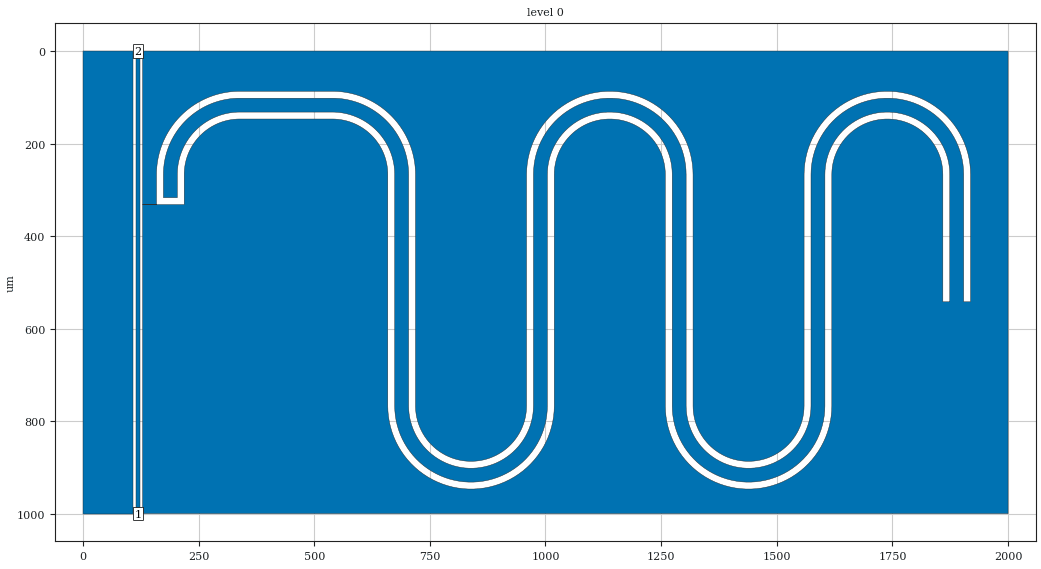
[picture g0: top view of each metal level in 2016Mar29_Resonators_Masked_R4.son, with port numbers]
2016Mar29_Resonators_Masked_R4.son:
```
FTYP SONPROJ 15 ! Sonnet Project File
VER 16.52
HEADER
LIC calt2.2.43068 b4ae2bd1247e DESKTOP-SL82IK9 Michael
DAT 04/05/2016 03:37:08
BUILT_BY_CREATED xgeom 16.52 03/26/2016 21:21:12
BUILT_BY_SAVED xgeom 16.52
MDATE 04/05/2016 03:37:08
HDATE 04/05/2016 03:36:58
END HEADER
DIM
FREQ GHZ
IND NH
LNG UM
ANG DEG
CON /OH
CAP PF
RES OH
END DIM
FREQ
ABS 5.9 6.1 
END FREQ
CONTROL
ABS
OPTIONS  -d 
SPEED 0
CACHE_ABS 1
TARG_ABS 300
Q_ACC N
DET_ABS_RES Y
END CONTROL
GEO
TMET "Lossless" 0 SUP 0 0 0 0
BMET "Lossless" 0 SUP 0 0 0 0
BOX 1 2001 999 1334 666 20 0
      1000 1 1 0 0 0 0 "Air"
      500 11.9 1 5e-006 0 0 0 "Silicon (intrinsic)"
LORGN 0 999 U 
POR1 STD
POLY 10 1
5
1 50 0 0 0 119 1000.000022 
POR1 STD
POLY 10 1
2
2 50 0 0 0 119.000068 -2.005889291e-005 
NUM 3
0 1223 -1 N 9 1 1 100 100 0 0 0 Y
2000.000042 3.902716316e-005
129 3.902716316e-005
129 132
129 332
159 332
159 267
159.09 261.23
159.37 255.47
159.83 249.72
160.48 243.98
161.31 238.27
162.32 232.59
163.51 226.95
164.89 221.34
166.44 215.78
168.17 210.28
170.08 204.83
172.16 199.45
174.41 194.14
176.83 188.9
179.41 183.74
182.16 178.67
185.07 173.69
188.14 168.8
191.37 164.02
194.75 159.34
198.27 154.77
201.94 150.32
205.75 145.99
209.7 141.78
213.78 137.7
217.99 133.75
222.32 129.94
226.77 126.27
231.34 122.75
236.02 119.37
240.8 116.14
245.69 113.07
250.67 110.16
255.74 107.41
260.9 104.83
266.14 102.41
271.45 100.15
276.83 98.08
282.28 96.17
287.79 94.44
293.34 92.89
298.95 91.51
304.59 90.32
310.27 89.31
315.98 88.48
321.72 87.83
327.47 87.37
333.23 87.09
339 87
539 87
544.77 87.09
550.53 87.37
556.28 87.83
562.02 88.48
567.73 89.31
573.41 90.32
579.05 91.51
584.66 92.89
590.22 94.44
595.72 96.17
601.17 98.08
606.55 100.15
611.86 102.41
617.1 104.83
622.26 107.41
627.33 110.16
632.31 113.07
637.2 116.14
641.98 119.37
646.66 122.75
651.23 126.27
655.68 129.94
660.01 133.75
664.22 137.7
668.3 141.78
672.25 145.99
676.06 150.32
679.73 154.77
683.25 159.34
686.63 164.02
689.86 168.8
692.93 173.69
695.84 178.67
698.59 183.74
701.17 188.9
703.59 194.14
705.85 199.45
707.92 204.83
709.83 210.28
711.56 215.78
713.11 221.34
714.49 226.95
715.68 232.59
716.69 238.27
717.52 243.98
718.17 249.72
718.63 255.47
718.91 261.23
719 267
719 767
719.25 774.69
719.98 782.34
721.21 789.94
722.93 797.44
725.11 804.81
727.77 812.03
730.88 819.07
734.44 825.89
738.43 832.46
742.83 838.77
747.63 844.79
752.8 850.48
758.32 855.83
764.18 860.82
770.35 865.42
776.79 869.62
783.49 873.39
790.43 876.73
797.56 879.62
804.86 882.04
812.3 883.99
819.85 885.46
827.48 886.44
835.15 886.94
842.85 886.94
850.52 886.44
858.15 885.46
865.7 883.99
873.14 882.04
880.44 879.62
887.57 876.73
894.51 873.39
901.21 869.62
907.65 865.42
913.82 860.82
919.68 855.83
925.2 850.48
930.37 844.79
935.17 838.77
939.57 832.46
943.56 825.89
947.12 819.07
950.23 812.03
952.89 804.81
955.07 797.44
956.79 789.94
958.02 782.34
958.75 774.69
959 767
959 267
959.37 255.47
960.48 243.98
962.32 232.59
964.89 221.34
968.17 210.28
972.15 199.45
976.83 188.9
982.16 178.67
988.14 168.8
994.75 159.34
1001.94 150.32
1009.7 141.78
1017.99 133.75
1018.21 133.56
1026.77 126.27
1036.02 119.37
1045.69 113.07
1055.74 107.41
1066.14 102.41
1076.83 98.08
1087.78 94.44
1098.95 91.51
1110.27 89.31
1121.72 87.83
1133.23 87.09
1144.77 87.09
1156.28 87.83
1167.73 89.31
1179.05 91.51
1190.22 94.44
1201.17 98.08
1211.86 102.41
1222.26 107.41
1232.31 113.07
1241.98 119.37
1251.23 126.27
1260.01 133.75
1268.3 141.78
1276.06 150.32
1283.25 159.34
1289.86 168.8
1295.84 178.67
1301.17 188.9
1305.85 199.45
1309.83 210.28
1313.11 221.34
1315.68 232.59
1317.52 243.98
1318.63 255.47
1319 267
1319 767
1319.25 774.69
1319.98 782.34
1321.21 789.94
1322.93 797.44
1325.11 804.81
1327.77 812.03
1330.88 819.07
1334.44 825.89
1338.43 832.46
1342.83 838.77
1347.63 844.79
1352.8 850.48
1358.32 855.83
1364.18 860.82
1370.35 865.42
1376.79 869.62
1383.49 873.39
1390.43 876.73
1397.56 879.62
1404.86 882.04
1412.3 883.99
1419.85 885.46
1427.48 886.44
1435.15 886.94
1442.85 886.94
1450.52 886.44
1458.15 885.46
1465.7 883.99
1473.14 882.04
1480.44 879.62
1487.57 876.73
1494.51 873.39
1501.21 869.62
1507.65 865.42
1513.82 860.82
1519.68 855.83
1525.2 850.48
1530.37 844.79
1535.17 838.77
1539.57 832.46
1543.56 825.89
1547.12 819.07
1550.23 812.03
1552.89 804.81
1555.07 797.44
1556.79 789.94
1558.02 782.34
1558.75 774.69
1559 767
1559 267
1559.37 255.47
1560.48 243.98
1562.32 232.59
1564.89 221.34
1568.17 210.28
1572.15 199.45
1576.83 188.9
1582.16 178.67
1588.14 168.8
1594.75 159.34
1601.94 150.32
1609.7 141.78
1617.99 133.75
1626.77 126.27
1636.02 119.37
1645.69 113.07
1655.74 107.41
1666.14 102.41
1676.83 98.08
1687.78 94.44
1698.95 91.51
1710.27 89.31
1721.72 87.83
1733.23 87.09
1744.77 87.09
1756.28 87.83
1767.73 89.31
1779.05 91.51
1790.22 94.44
1801.17 98.08
1811.86 102.41
1822.26 107.41
1832.31 113.07
1841.98 119.37
1851.23 126.27
1860.01 133.75
1868.3 141.78
1876.06 150.32
1883.25 159.34
1889.86 168.8
1895.84 178.67
1901.17 188.9
1905.85 199.45
1909.83 210.28
1913.11 221.34
1915.68 232.59
1917.52 243.98
1918.63 255.47
1919 267
1919 542.17
1904 542.17
1904 267
1903.66 256.43
1902.65 245.9
1900.96 235.46
1898.6 225.15
1895.59 215.01
1891.94 205.08
1887.66 195.41
1882.77 186.03
1877.28 176.99
1871.23 168.31
1864.64 160.04
1857.53 152.21
1849.93 144.85
1841.88 138
1833.4 131.67
1824.53 125.9
1815.32 120.71
1805.79 116.12
1795.98 112.15
1785.95 108.82
1775.72 106.14
1765.33 104.11
1754.84 102.76
1744.29 102.08
1733.71 102.08
1723.16 102.76
1712.67 104.11
1702.28 106.14
1692.05 108.82
1682.02 112.15
1672.21 116.12
1662.68 120.71
1653.47 125.9
1644.6 131.67
1636.12 138
1628.07 144.85
1620.47 152.21
1613.36 160.04
1606.77 168.31
1600.72 176.99
1595.23 186.03
1590.34 195.41
1586.06 205.08
1582.41 215.01
1579.4 225.15
1577.04 235.46
1575.36 245.9
1574.34 256.43
1574 267
1574 767
1573.72 775.65
1572.89 784.26
1571.51 792.81
1569.59 801.24
1567.12 809.54
1564.13 817.66
1560.63 825.57
1556.63 833.25
1552.14 840.65
1547.19 847.74
1541.8 854.51
1535.98 860.92
1529.76 866.94
1523.17 872.55
1516.24 877.72
1508.98 882.44
1501.44 886.69
1493.65 890.45
1485.62 893.69
1477.41 896.42
1469.04 898.61
1460.55 900.27
1451.96 901.38
1443.33 901.93
1434.67 901.93
1426.04 901.38
1417.45 900.27
1408.96 898.61
1400.59 896.42
1392.38 893.69
1384.35 890.45
1376.56 886.69
1369.02 882.44
1361.76 877.72
1354.83 872.55
1348.24 866.94
1342.02 860.92
1336.2 854.51
1330.81 847.74
1325.86 840.65
1321.37 833.25
1317.37 825.57
1313.87 817.66
1310.88 809.54
1308.42 801.24
1306.49 792.81
1305.11 784.26
1304.28 775.65
1304 767
1304 267
1303.66 256.43
1302.65 245.9
1300.96 235.46
1298.6 225.15
1295.59 215.01
1291.94 205.08
1287.66 195.41
1282.77 186.03
1277.28 176.99
1271.23 168.31
1264.64 160.04
1257.53 152.21
1249.93 144.85
1241.88 138
1233.4 131.67
1224.53 125.9
1215.32 120.71
1205.79 116.12
1195.98 112.15
1185.95 108.82
1175.72 106.14
1165.33 104.11
1154.84 102.76
1144.29 102.08
1133.71 102.08
1123.16 102.76
1112.67 104.11
1102.28 106.14
1092.05 108.82
1082.02 112.15
1072.21 116.12
1062.68 120.71
1053.47 125.9
1044.6 131.67
1036.12 138
1028.07 144.85
1020.47 152.21
1018.21 154.7
1013.36 160.04
1006.77 168.31
1000.72 176.99
995.23 186.03
990.34 195.41
986.06 205.08
982.41 215.01
979.4 225.15
977.04 235.46
975.36 245.9
974.34 256.43
974 267
974 767
973.72 775.65
972.89 784.26
971.51 792.81
969.59 801.24
967.12 809.54
964.13 817.66
960.63 825.57
956.63 833.25
952.14 840.65
947.19 847.74
941.8 854.51
935.98 860.92
929.76 866.94
923.17 872.55
916.24 877.72
908.98 882.44
901.44 886.69
893.65 890.45
885.62 893.69
877.41 896.42
869.04 898.61
860.55 900.27
851.96 901.38
843.33 901.93
834.67 901.93
826.04 901.38
817.45 900.27
808.96 898.61
800.59 896.42
792.38 893.69
784.35 890.45
776.56 886.69
769.02 882.44
761.76 877.72
754.83 872.55
748.24 866.94
742.02 860.92
736.2 854.51
730.81 847.74
725.86 840.65
721.37 833.25
717.37 825.57
713.87 817.66
710.88 809.54
708.42 801.24
706.49 792.81
705.11 784.26
704.28 775.65
704 767
704 267
703.92 261.71
703.66 256.43
703.24 251.16
702.65 245.9
701.89 240.67
700.96 235.46
699.86 230.28
698.6 225.15
697.18 220.05
695.59 215.01
693.85 210.02
691.94 205.08
689.88 200.21
687.66 195.41
685.29 190.68
682.77 186.03
680.1 181.47
677.28 176.99
674.33 172.6
671.23 168.31
668 164.12
664.64 160.04
661.15 156.07
657.53 152.21
653.79 148.47
649.93 144.85
645.96 141.36
641.88 138
637.69 134.77
633.4 131.67
629.01 128.72
624.53 125.9
619.97 123.23
615.32 120.71
610.59 118.34
605.79 116.12
600.92 114.06
595.98 112.15
590.99 110.41
585.95 108.82
580.85 107.4
575.72 106.14
570.54 105.04
565.33 104.11
560.1 103.35
554.84 102.76
549.57 102.34
544.29 102.08
539 102
339 102
333.71 102.08
328.43 102.34
323.16 102.76
317.9 103.35
312.67 104.11
307.46 105.04
302.28 106.14
297.15 107.4
292.05 108.82
287.01 110.41
282.01 112.15
277.08 114.06
272.21 116.12
267.41 118.34
262.68 120.71
258.03 123.23
253.47 125.9
248.99 128.72
244.6 131.67
240.31 134.77
236.12 138
232.04 141.36
228.07 144.85
224.21 148.47
220.47 152.21
216.85 156.07
213.36 160.04
210 164.12
206.77 168.31
203.67 172.6
200.72 176.99
197.9 181.47
195.23 186.03
192.71 190.68
190.34 195.41
188.12 200.21
186.06 205.08
184.15 210.02
182.41 215.01
180.82 220.05
179.4 225.15
178.14 230.28
177.04 235.46
176.12 240.67
175.36 245.9
174.76 251.16
174.34 256.43
174.09 261.71
174 267
174 317
204 317
204 267
204.07 262.67
204.28 258.35
204.62 254.04
205.11 249.74
205.73 245.45
206.49 241.19
207.39 236.96
208.42 232.76
209.58 228.59
210.88 224.46
212.31 220.38
213.87 216.34
215.55 212.35
217.37 208.43
219.31 204.56
221.37 200.75
223.56 197.02
225.86 193.35
228.28 189.76
230.81 186.26
233.45 182.83
236.2 179.49
239.06 176.24
242.02 173.08
245.08 170.02
248.24 167.06
251.49 164.2
254.83 161.45
258.26 158.81
261.76 156.28
265.35 153.86
269.02 151.56
272.75 149.37
276.56 147.31
280.43 145.37
284.35 143.55
288.34 141.87
292.38 140.31
296.46 138.88
300.59 137.58
304.76 136.41
308.96 135.39
313.19 134.49
317.45 133.73
321.74 133.11
326.04 132.62
330.35 132.28
334.67 132.07
339 132
539 132
543.33 132.07
547.65 132.28
551.96 132.62
556.26 133.11
560.55 133.73
564.81 134.49
569.04 135.39
573.24 136.41
577.41 137.58
581.54 138.88
585.62 140.31
589.66 141.87
593.65 143.55
597.57 145.37
601.44 147.31
605.25 149.37
608.98 151.56
612.65 153.86
616.24 156.28
619.74 158.81
623.17 161.45
626.51 164.2
629.76 167.06
632.92 170.02
635.98 173.08
638.94 176.24
641.8 179.49
644.55 182.83
647.19 186.26
649.72 189.76
652.14 193.35
654.44 197.02
656.63 200.75
658.69 204.56
660.63 208.43
662.45 212.35
664.13 216.34
665.69 220.38
667.12 224.46
668.42 228.59
669.59 232.76
670.61 236.96
671.51 241.19
672.27 245.45
672.89 249.74
673.38 254.04
673.72 258.35
673.93 262.67
674 267
674 767
674.34 777.57
675.36 788.1
677.04 798.54
679.4 808.85
682.41 818.99
686.06 828.92
690.34 838.59
695.23 847.97
700.72 857.01
706.77 865.69
713.36 873.96
720.47 881.79
728.07 889.15
736.12 896
744.6 902.33
753.47 908.1
762.68 913.29
772.21 917.88
782.02 921.85
792.05 925.18
802.28 927.86
812.67 929.88
823.16 931.24
833.71 931.91
844.29 931.91
854.84 931.24
865.33 929.88
875.72 927.86
885.95 925.18
895.98 921.85
905.79 917.88
915.32 913.29
924.53 908.1
933.4 902.33
941.88 896
949.93 889.15
957.53 881.79
964.64 873.96
971.23 865.69
977.28 857.01
982.77 847.97
987.66 838.59
991.94 828.92
995.59 818.99
998.6 808.85
1000.96 798.54
1002.65 788.1
1003.66 777.57
1004 767
1004 267
1004.28 258.35
1005.11 249.74
1006.49 241.19
1008.42 232.76
1010.88 224.46
1013.87 216.34
1017.37 208.43
1018.21 206.81
1021.37 200.75
1025.86 193.35
1030.81 186.26
1036.2 179.49
1042.02 173.08
1048.24 167.06
1054.83 161.45
1061.76 156.28
1069.02 151.56
1076.56 147.31
1084.35 143.55
1092.38 140.31
1100.59 137.58
1108.96 135.39
1117.45 133.73
1126.04 132.62
1134.67 132.07
1143.33 132.07
1151.96 132.62
1160.55 133.73
1169.04 135.39
1177.41 137.58
1185.62 140.31
1193.65 143.55
1201.44 147.31
1208.98 151.56
1216.24 156.28
1223.17 161.45
1229.76 167.06
1235.98 173.08
1241.8 179.49
1247.19 186.26
1252.14 193.35
1256.63 200.75
1260.63 208.43
1264.13 216.34
1267.12 224.46
1269.59 232.76
1271.51 241.19
1272.89 249.74
1273.72 258.35
1274 267
1274 767
1274.34 777.57
1275.36 788.1
1277.04 798.54
1279.4 808.85
1282.41 818.99
1286.06 828.92
1290.34 838.59
1295.23 847.97
1300.72 857.01
1306.77 865.69
1313.36 873.96
1320.47 881.79
1328.07 889.15
1336.12 896
1344.6 902.33
1353.47 908.1
1362.68 913.29
1372.21 917.88
1382.02 921.85
1392.05 925.18
1402.28 927.86
1412.67 929.88
1423.16 931.24
1433.71 931.91
1444.29 931.91
1454.84 931.24
1465.33 929.88
1475.72 927.86
1485.95 925.18
1495.98 921.85
1505.79 917.88
1515.32 913.29
1524.53 908.1
1533.4 902.33
1541.88 896
1549.93 889.15
1557.53 881.79
1564.64 873.96
1571.23 865.69
1577.28 857.01
1582.77 847.97
1587.66 838.59
1591.94 828.92
1595.59 818.99
1598.6 808.85
1600.96 798.54
1602.65 788.1
1603.66 777.57
1604 767
1604 267
1604.28 258.35
1605.11 249.74
1606.49 241.19
1608.42 232.76
1610.88 224.46
1613.87 216.34
1617.37 208.43
1621.37 200.75
1625.86 193.35
1630.81 186.26
1636.2 179.49
1642.02 173.08
1648.24 167.06
1654.83 161.45
1661.76 156.28
1669.02 151.56
1676.56 147.31
1684.35 143.55
1692.38 140.31
1700.59 137.58
1708.96 135.39
1717.45 133.73
1726.04 132.62
1734.67 132.07
1743.33 132.07
1751.96 132.62
1760.55 133.73
1769.04 135.39
1777.41 137.58
1785.62 140.31
1793.65 143.55
1801.44 147.31
1808.98 151.56
1816.24 156.28
1823.17 161.45
1829.76 167.06
1835.98 173.08
1841.8 179.49
1847.19 186.26
1852.14 193.35
1856.63 200.75
1860.63 208.43
1864.13 216.34
1867.12 224.46
1869.59 232.76
1871.51 241.19
1872.89 249.74
1873.72 258.35
1874 267
1874 542.17
1859 542.17
1859 267
1858.75 259.31
1858.02 251.65
1856.79 244.06
1855.07 236.56
1852.89 229.19
1850.23 221.97
1847.12 214.93
1843.56 208.11
1839.57 201.54
1835.17 195.23
1830.37 189.21
1825.2 183.52
1819.68 178.17
1813.82 173.18
1807.65 168.58
1801.21 164.38
1794.51 160.61
1787.57 157.27
1780.44 154.38
1773.14 151.96
1765.7 150.01
1758.15 148.54
1750.52 147.56
1742.85 147.06
1735.15 147.06
1727.48 147.56
1719.85 148.54
1712.3 150.01
1704.86 151.96
1697.56 154.38
1690.43 157.27
1683.49 160.61
1676.79 164.38
1670.35 168.58
1664.18 173.18
1658.32 178.17
1652.8 183.52
1647.63 189.21
1642.83 195.23
1638.43 201.54
1634.44 208.11
1630.88 214.93
1627.77 221.97
1625.11 229.19
1622.93 236.56
1621.21 244.06
1619.98 251.65
1619.25 259.31
1619 267
1619 767
1618.63 778.53
1617.52 790.02
1615.68 801.41
1613.11 812.66
1609.83 823.72
1605.85 834.55
1601.17 845.1
1595.84 855.33
1589.86 865.2
1583.25 874.66
1576.06 883.68
1568.3 892.22
1560.01 900.25
1551.23 907.73
1541.98 914.63
1532.31 920.93
1522.26 926.59
1511.86 931.59
1501.17 935.92
1490.22 939.56
1479.05 942.49
1467.73 944.69
1456.28 946.17
1444.77 946.91
1433.23 946.91
1421.72 946.17
1410.27 944.69
1398.95 942.49
1387.78 939.56
1376.83 935.92
1366.14 931.59
1355.74 926.59
1345.69 920.93
1336.02 914.63
1326.77 907.73
1317.99 900.25
1309.7 892.22
1301.94 883.68
1294.75 874.66
1288.14 865.2
1282.16 855.33
1276.83 845.1
1272.15 834.55
1268.17 823.72
1264.89 812.66
1262.32 801.41
1260.48 790.02
1259.37 778.53
1259 767
1259 267
1258.75 259.31
1258.02 251.65
1256.79 244.06
1255.07 236.56
1252.89 229.19
1250.23 221.97
1247.12 214.93
1243.56 208.11
1239.57 201.54
1235.17 195.23
1230.37 189.21
1225.2 183.52
1219.68 178.17
1213.82 173.18
1207.65 168.58
1201.21 164.38
1194.51 160.61
1187.57 157.27
1180.44 154.38
1173.14 151.96
1165.7 150.01
1158.15 148.54
1150.52 147.56
1142.85 147.06
1135.15 147.06
1127.48 147.56
1119.85 148.54
1112.3 150.01
1104.86 151.96
1097.56 154.38
1090.43 157.27
1083.49 160.61
1076.79 164.38
1070.35 168.58
1064.18 173.18
1058.32 178.17
1052.8 183.52
1047.63 189.21
1042.83 195.23
1038.43 201.54
1034.44 208.11
1030.88 214.93
1027.77 221.97
1025.11 229.19
1022.93 236.56
1021.21 244.06
1019.98 251.65
1019.25 259.31
1019 267
1019 767
1018.63 778.53
1018.21 782.84
1017.52 790.02
1015.68 801.41
1013.11 812.66
1009.83 823.72
1005.85 834.55
1001.17 845.1
995.84 855.33
989.86 865.2
983.25 874.66
976.06 883.68
968.3 892.22
960.01 900.25
951.23 907.73
941.98 914.63
932.31 920.93
922.26 926.59
911.86 931.59
901.17 935.92
890.22 939.56
879.05 942.49
867.73 944.69
856.28 946.17
844.77 946.91
833.23 946.91
821.72 946.17
810.27 944.69
798.95 942.49
787.78 939.56
776.83 935.92
766.14 931.59
755.74 926.59
745.69 920.93
736.02 914.63
726.77 907.73
717.99 900.25
709.7 892.22
701.94 883.68
694.75 874.66
688.14 865.2
682.16 855.33
676.83 845.1
672.15 834.55
668.17 823.72
664.89 812.66
662.32 801.41
660.48 790.02
659.37 778.53
659 767
659 267
658.94 263.15
658.75 259.31
658.44 255.48
658.02 251.65
657.46 247.85
656.79 244.06
655.99 240.3
655.07 236.56
654.04 232.86
652.89 229.19
651.62 225.56
650.23 221.97
648.73 218.43
647.12 214.93
645.39 211.49
643.56 208.11
641.62 204.79
639.57 201.54
637.42 198.35
635.17 195.23
632.82 192.18
630.37 189.21
627.83 186.32
625.2 183.52
622.48 180.8
619.68 178.17
616.79 175.63
613.82 173.18
610.77 170.83
607.65 168.58
604.46 166.43
601.21 164.38
597.89 162.44
594.51 160.61
591.07 158.88
587.57 157.27
584.03 155.77
580.44 154.38
576.81 153.11
573.14 151.96
569.44 150.93
565.7 150.01
561.94 149.21
558.15 148.54
554.35 147.98
550.52 147.56
546.69 147.25
542.85 147.06
539 147
339 147
335.15 147.06
331.31 147.25
329 147.43
327.48 147.56
323.66 147.98
319.85 148.54
316.06 149.21
312.3 150.01
308.56 150.93
304.86 151.96
301.19 153.11
297.56 154.38
293.97 155.77
290.43 157.27
286.93 158.88
283.49 160.61
280.11 162.44
276.79 164.38
273.54 166.43
270.35 168.58
267.23 170.83
264.18 173.18
261.21 175.63
258.32 178.17
255.52 180.8
252.8 183.52
250.17 186.32
247.63 189.21
245.18 192.18
242.83 195.23
240.58 198.35
238.43 201.54
236.38 204.79
234.44 208.11
232.61 211.49
230.88 214.93
229.27 218.43
227.77 221.97
226.38 225.56
225.11 229.19
223.96 232.86
222.93 236.56
222.01 240.3
221.21 244.06
220.54 247.85
219.99 251.65
219.56 255.48
219.25 259.31
219.06 263.15
219 267
219 332
159 332
129 332
129 332
129 999.9999221
2000.000042 999.9999221
2000.000042 3.902716316e-005
END
0 8 -1 N 10 1 1 100 100 0 0 0 Y
124 132
124.000136 132
124.000136 -2.005889291e-005
114 -2.005889291e-005
114 132
114 1000.000022
124 1000.000022
124 132
END
0 6 -1 N 11 1 1 100 100 0 0 0 Y
109 149
109 -2.005889291e-005
0 -2.005889291e-005
0 1000.000022
109 1000.000022
109 149
END
END GEO
OPT
MAX 100
VARS
END
END OPT
VARSWP
END VARSWP
QSG
IMPORT YES
EXTRA_METAL NO
UNITS NO
ALIGN NO
REF NO
VIEW_RES NO
METALS NO
USED YES
END QSG
```
